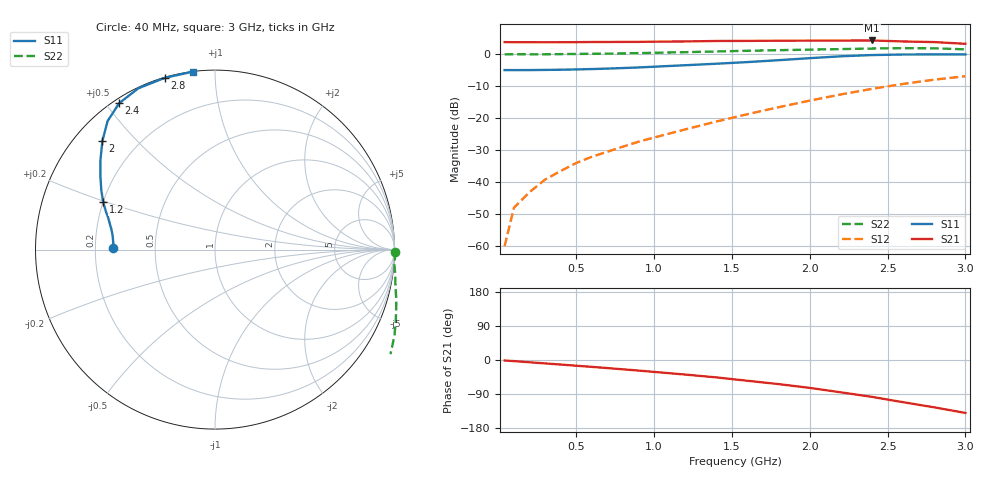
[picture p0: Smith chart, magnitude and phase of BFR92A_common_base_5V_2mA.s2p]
! Filename:  BFR92ACA.S2P  Version:  2.0
! Philips part #: BFR92A  Date: Jul 1990
! Bias condition: Vce=5V, Ic=2mA
! COMMON BASE
#  MHz  S  MA  R  50
! Freq  S11  S21  S12  S22
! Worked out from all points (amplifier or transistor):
!   21 points, 40 MHz to 3 GHz, reference 50 ohm
!   highest |S21| = 4.3 dB at 2.4 GHz (marker M1)
!   |S21| within 3 dB of that: start of sweep to end of sweep
!   unconditionally stable (mu >= 1): nowhere
!   at 300 MHz: K = -0.22, MSG = 21.5 dB, |S12| = -39.2 dB
!   at 1 GHz: K = -0.80, MSG = 15.0 dB, |S12| = -26.0 dB
!   at 3 GHz: K = -0.46, MSG = 5.1 dB, |S12| = -6.8 dB
!   S11 on the Smith chart (normalised r, x): 40 MHz: 0.28, +0.01; 1.2 GHz: 0.20, +0.19; 2 GHz: 0.08, +0.40; 2.4 GHz: 0.02, +0.54; 2.8 GHz: 0.00, +0.75; 3 GHz: 0.00, +0.88
40  0.568 179.0  1.554 -1.4  0.001 72.2  1.002 -0.7
100  0.567 178.0  1.55 -2.9  0.004 86.0  1.005 -1.5
200  0.568 176.1  1.55 -6.0  0.007 94.8  1.003 -3.3
300  0.571 174.4  1.547 -9.0  0.011 99.8  1.003 -4.9
400  0.575 172.6  1.549 -12.0  0.015 104.5  1.009 -6.6
500  0.581 170.7  1.552 -15.1  0.02 106.8  1.015 -8.2
600  0.589 168.7  1.56 -18.1  0.025 110.9  1.02 -9.9
700  0.599 167.0  1.561 -21.3  0.03 114.0  1.027 -11.6
800  0.611 164.9  1.566 -24.6  0.036 116.8  1.036 -13.4
900  0.624 163.0  1.568 -27.9  0.043 119.5  1.047 -15.3
1000  0.641 161.1  1.579 -31.4  0.05 121.6  1.057 -17.2
1200  0.676 157.1  1.592 -38.4  0.067 126.1  1.082 -21.4
1400  0.714 152.5  1.619 -45.9  0.089 127.6  1.11 -25.8
1600  0.757 147.5  1.624 -54.8  0.116 129.2  1.138 -30.8
1800  0.811 141.9  1.634 -63.6  0.149 128.4  1.163 -36.6
2000  0.872 136.0  1.64 -73.6  0.189 126.5  1.184 -43.5
2200  0.933 129.9  1.642 -85.3  0.236 123.5  1.209 -51.5
2400  0.975 123.2  1.65 -97.3  0.289 119.1  1.234 -60.2
2600  0.995 115.4  1.592 -111.4  0.345 114.2  1.251 -68.9
2800  0.997 106.3  1.556 -124.9  0.402 108.0  1.243 -77.4
3000  0.999 97.2  1.462 -139.7  0.455 102.1  1.198 -86.2
